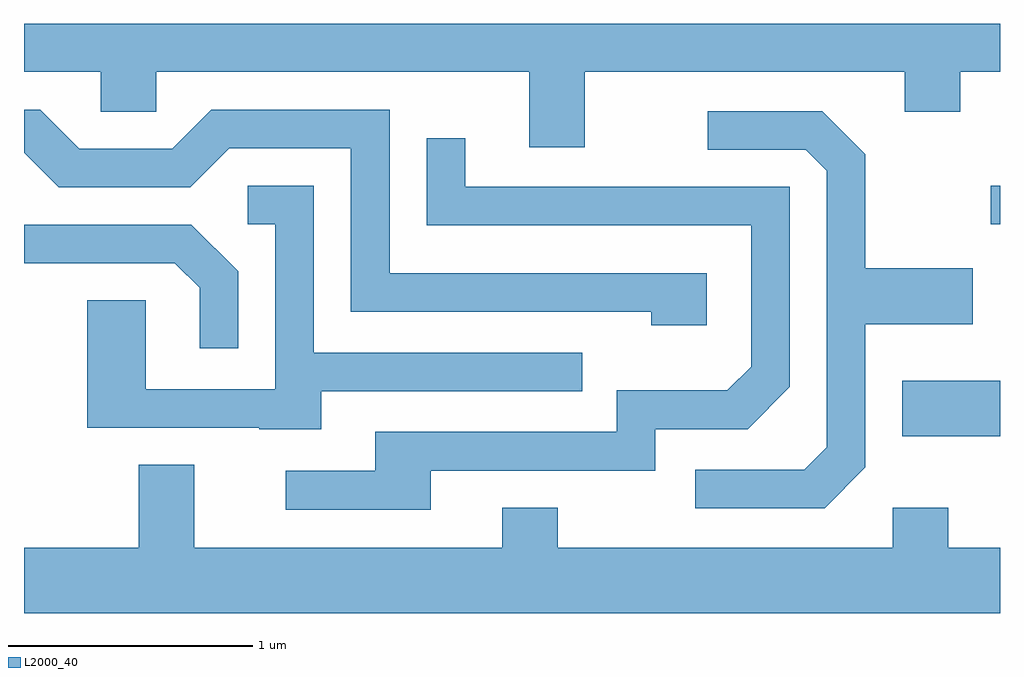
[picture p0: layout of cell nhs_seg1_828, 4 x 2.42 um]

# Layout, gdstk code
import gdstk
lib = gdstk.Library(unit=1e-6, precision=1e-09)
def R(c, l, rs):  # rectangles x0, y0, x1, y1
    for r in rs: c.add(gdstk.rectangle(r[:2], r[2:], *l))
def P(c, l, *ps):  # polygons
    for p in ps: c.add(gdstk.Polygon(p, *l))
L2000_40 = (2000, 40)

nhs_seg1_828 = lib.new_cell('nhs_seg1_828')
R(nhs_seg1_828, L2000_40, [(213.211,958.021,213.611,958.249), (213.573,958.891,213.611,959.049)])
P(nhs_seg1_828, L2000_40, [(211.909,959.516),(213.221,959.516),(213.221,959.351),(213.449,959.351),(213.449,959.516),(213.611,959.516),(213.611,959.712),(209.611,959.712),(209.611,959.516),(209.926,959.516),(209.926,959.351),(210.154,959.351),(210.154,959.516),(211.681,959.516),(211.681,959.206),(211.909,959.206)],
  [(212.409,958.689),(211.109,958.689),(211.109,959.359),(210.379,959.359),(210.219,959.199),(209.837,959.199),(209.677,959.359),(209.611,959.359),(209.611,959.184),(209.754,959.041),(210.292,959.041),(210.452,959.201),(210.951,959.201),(210.951,958.531),(212.181,958.531),(212.181,958.476),(212.409,958.476)],
  [(213.059,957.894),(213.059,958.481),(213.499,958.481),(213.499,958.709),(213.059,958.709),(213.059,959.177),(212.882,959.354),(212.413,959.354),(212.413,959.196),(212.814,959.196),(212.901,959.109),(212.901,957.977),(212.809,957.884),(212.363,957.884),(212.363,957.726),(212.892,957.726)],
  [(211.279,957.881),(212.199,957.881),(212.199,958.051),(212.577,958.051),(212.749,958.224),(212.749,959.044),(211.419,959.044),(211.419,959.243),(211.261,959.243),(211.261,958.886),(212.591,958.886),(212.591,958.307),(212.494,958.209),(212.041,958.209),(212.041,958.039),(211.051,958.039),(211.051,957.879),(210.683,957.879),(210.683,957.721),(211.279,957.721)],
  [(210.829,958.206),(211.898,958.206),(211.898,958.364),(210.799,958.364),(210.799,959.049),(210.528,959.049),(210.528,958.891),(210.641,958.891),(210.641,958.214),(210.109,958.214),(210.109,958.579),(209.871,958.579),(209.871,958.056),(210.575,958.056),(210.575,958.051),(210.829,958.051)],
  [(210.489,958.697),(210.297,958.889),(209.611,958.889),(209.611,958.731),(210.229,958.731),(210.331,958.629),(210.331,958.383),(210.489,958.383)],
  [(213.611,957.564),(213.399,957.564),(213.399,957.729),(213.171,957.729),(213.171,957.564),(211.799,957.564),(211.799,957.729),(211.571,957.729),(211.571,957.564),(210.309,957.564),(210.309,957.904),(210.081,957.904),(210.081,957.564),(209.611,957.564),(209.611,957.296),(213.611,957.296)])

lib.write_gds('nhs_seg1_828.gds')
